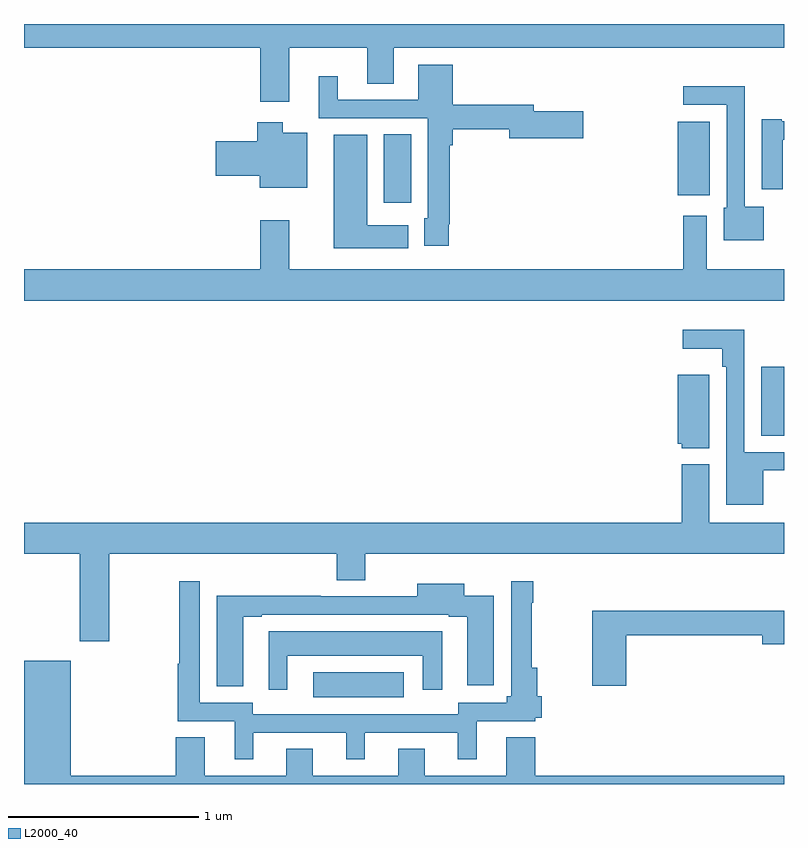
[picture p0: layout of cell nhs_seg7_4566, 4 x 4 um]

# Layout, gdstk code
import gdstk
lib = gdstk.Library(unit=1e-6, precision=1e-09)
def R(c, l, rs):  # rectangles x0, y0, x1, y1
    for r in rs: c.add(gdstk.rectangle(r[:2], r[2:], *l))
def P(c, l, *ps):  # polygons
    for p in ps: c.add(gdstk.Polygon(p, *l))
L2000_40 = (2000, 40)

nhs_seg7_4566 = lib.new_cell('nhs_seg7_4566')
R(nhs_seg7_4566, L2000_40, [(398.523,1070.456,398.998,1070.587), (400.88,1071.832,401,1072.195), (398.894,1073.058,399.037,1073.42), (400.442,1073.099,400.609,1073.485)])
P(nhs_seg7_4566, L2000_40, [(398.395,1073.876),(398.807,1073.876),(398.807,1073.686),(398.947,1073.686),(398.947,1073.876),(401,1073.876),(401,1074),(397,1074),(397,1073.876),(398.243,1073.876),(398.243,1073.592),(398.395,1073.592)],
  [(399.235,1072.945),(399.242,1072.945),(399.242,1073.363),(399.256,1073.363),(399.256,1073.446),(399.554,1073.446),(399.554,1073.399),(399.943,1073.399),(399.943,1073.541),(399.682,1073.541),(399.682,1073.575),(399.256,1073.575),(399.256,1073.785),(399.074,1073.785),(399.074,1073.601),(398.65,1073.601),(398.65,1073.725),(398.552,1073.725),(398.552,1073.505),(399.126,1073.505),(399.126,1072.977),(399.107,1072.977),(399.107,1072.833),(399.235,1072.833)],
  [(400.894,1073.038),(400.794,1073.038),(400.794,1073.672),(400.47,1073.672),(400.47,1073.574),(400.698,1073.574),(400.698,1073.034),(400.682,1073.034),(400.682,1072.862),(400.894,1072.862)],
  [(400.993,1073.391),(401,1073.391),(401,1073.487),(400.987,1073.487),(400.987,1073.5),(400.883,1073.5),(400.883,1073.13),(400.993,1073.13)],
  [(398.491,1073.428),(398.362,1073.428),(398.362,1073.482),(398.228,1073.482),(398.228,1073.384),(398.01,1073.384),(398.01,1073.201),(398.24,1073.201),(398.24,1073.138),(398.491,1073.138)],
  [(399.022,1072.942),(398.806,1072.942),(398.806,1073.416),(398.63,1073.416),(398.63,1072.82),(399.022,1072.82)],
  [(401,1072.708),(400.594,1072.708),(400.594,1072.99),(400.469,1072.99),(400.469,1072.708),(398.395,1072.708),(398.395,1072.966),(398.243,1072.966),(398.243,1072.708),(397,1072.708),(397,1072.544),(401,1072.544)],
  [(400.891,1071.651),(401,1071.651),(401,1071.747),(400.791,1071.747),(400.791,1072.39),(400.467,1072.39),(400.467,1072.292),(400.675,1072.292),(400.675,1072.196),(400.695,1072.196),(400.695,1071.47),(400.891,1071.47)],
  [(400.606,1072.153),(400.442,1072.153),(400.442,1071.792),(400.461,1071.792),(400.461,1071.767),(400.606,1071.767)],
  [(397,1071.212),(397.294,1071.212),(397.294,1070.751),(397.449,1070.751),(397.449,1071.212),(398.645,1071.212),(398.645,1071.073),(398.797,1071.073),(398.797,1071.212),(401,1071.212),(401,1071.376),(400.606,1071.376),(400.606,1071.682),(400.463,1071.682),(400.463,1071.376),(397,1071.376)],
  [(398.206,1070.271),(398.696,1070.271),(398.696,1070.13),(398.794,1070.13),(398.794,1070.271),(399.284,1070.271),(399.284,1070.13),(399.382,1070.13),(399.382,1070.331),(399.69,1070.331),(399.69,1070.349),(399.725,1070.349),(399.725,1070.463),(399.702,1070.463),(399.702,1070.611),(399.673,1070.611),(399.673,1070.954),(399.68,1070.954),(399.68,1071.067),(399.564,1071.067),(399.564,1070.463),(399.542,1070.463),(399.542,1070.427),(399.285,1070.427),(399.285,1070.367),(398.205,1070.367),(398.205,1070.427),(397.926,1070.427),(397.926,1071.067),(397.818,1071.067),(397.818,1070.634),(397.81,1070.634),(397.81,1070.331),(398.108,1070.331),(398.108,1070.13),(398.206,1070.13)],
  [(398.155,1070.88),(398.251,1070.88),(398.251,1070.892),(399.236,1070.892),(399.236,1070.88),(399.332,1070.88),(399.332,1070.52),(399.472,1070.52),(399.472,1070.991),(399.316,1070.991),(399.316,1071.055),(399.071,1071.055),(399.071,1070.988),(398.561,1070.988),(398.561,1070.991),(398.015,1070.991),(398.015,1070.514),(398.155,1070.514)],
  [(400.169,1070.782),(400.886,1070.782),(400.886,1070.735),(401,1070.735),(401,1070.911),(399.991,1070.911),(399.991,1070.517),(400.169,1070.517)],
  [(398.386,1070.675),(399.098,1070.675),(399.098,1070.496),(399.202,1070.496),(399.202,1070.803),(398.288,1070.803),(398.288,1070.496),(398.386,1070.496)],
  [(398.521,1070.186),(398.381,1070.186),(398.381,1070.044),(397.951,1070.044),(397.951,1070.246),(397.799,1070.246),(397.799,1070.044),(397.246,1070.044),(397.246,1070.65),(397,1070.65),(397,1070),(401,1070),(401,1070.044),(399.692,1070.044),(399.692,1070.246),(399.539,1070.246),(399.539,1070.044),(399.109,1070.044),(399.109,1070.186),(398.969,1070.186),(398.969,1070.044),(398.521,1070.044)])

lib.write_gds('nhs_seg7_4566.gds')
